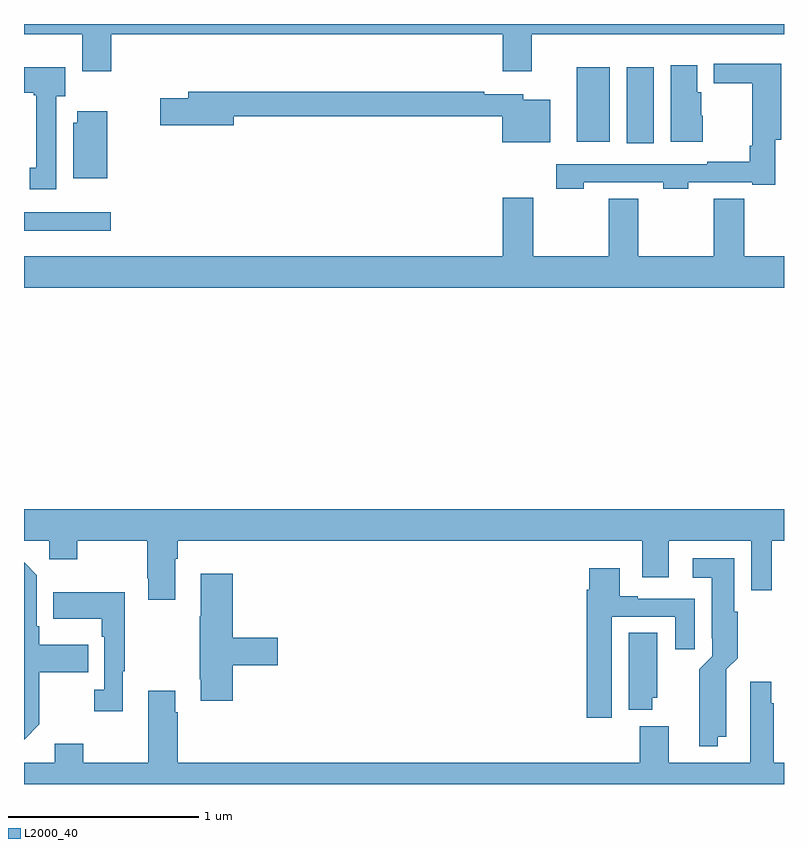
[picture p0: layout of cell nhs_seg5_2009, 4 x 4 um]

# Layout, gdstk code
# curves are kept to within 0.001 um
import gdstk
lib = gdstk.Library(unit=1e-6, precision=1e-09)
def R(c, l, rs):  # rectangles x0, y0, x1, y1
    for r in rs: c.add(gdstk.rectangle(r[:2], r[2:], *l))
def P(c, l, *ps):  # polygons
    for p in ps: c.add(gdstk.Polygon(p, *l))
L2000_40 = (2000, 40)

nhs_seg5_2009 = lib.new_cell('nhs_seg5_2009')
R(nhs_seg5_2009, L2000_40, [(229,871.712,229.456,871.809), (232.172,872.172,232.315,872.572), (231.908,872.18,232.084,872.572)])
P(nhs_seg5_2009, L2000_40, [(229.46,872.744),(231.521,872.744),(231.521,872.55),(231.673,872.55),(231.673,872.744),(233,872.744),(233,872.799),(229,872.799),(229,872.744),(229.307,872.744),(229.307,872.55),(229.46,872.55)],
  [(231.945,871.965),(232.365,871.965),(232.365,871.933),(232.497,871.933),(232.497,871.965),(232.832,871.965),(232.832,871.953),(232.955,871.953),(232.955,872.189),(232.985,872.189),(232.985,872.59),(232.629,872.59),(232.629,872.488),(232.834,872.488),(232.834,872.158),(232.819,872.158),(232.819,872.074),(232.597,872.074),(232.597,872.061),(231.801,872.061),(231.801,871.933),(231.945,871.933)],
  [(232.573,872.316),(232.564,872.316),(232.564,872.439),(232.543,872.439),(232.543,872.581),(232.403,872.581),(232.403,872.18),(232.573,872.18)],
  [(229.171,872.418),(229.216,872.418),(229.216,872.572),(229,872.572),(229,872.438),(229.051,872.438),(229.051,872.425),(229.064,872.425),(229.064,872.042),(229.031,872.042),(229.031,871.929),(229.171,871.929)],
  [(231.769,872.401),(231.628,872.401),(231.628,872.43),(231.422,872.43),(231.422,872.443),(229.865,872.443),(229.865,872.409),(229.716,872.409),(229.716,872.267),(230.104,872.267),(230.104,872.314),(231.518,872.314),(231.518,872.177),(231.769,872.177)],
  [(229.438,872.341),(229.28,872.341),(229.28,872.28),(229.259,872.28),(229.259,871.988),(229.438,871.988)],
  [(233,871.576),(232.79,871.576),(232.79,871.88),(232.63,871.88),(232.63,871.576),(232.232,871.576),(232.232,871.88),(232.078,871.88),(232.078,871.576),(231.681,871.576),(231.681,871.885),(231.521,871.885),(231.521,871.576),(229,871.576),(229,871.412),(233,871.412)],
  [(229.795,869.984),(229.808,869.984),(229.808,870.08),(232.253,870.08),(232.253,869.886),(232.393,869.886),(232.393,870.08),(232.827,870.08),(232.827,869.82),(232.936,869.82),(232.936,870.08),(233,870.08),(233,870.244),(229,870.244),(229,870.08),(229.134,870.08),(229.134,869.981),(229.281,869.981),(229.281,870.08),(229.648,870.08),(229.648,869.881),(229.655,869.881),(229.655,869.769),(229.795,869.769)],
  [(232.651,869.048),(232.696,869.048),(232.697,869.402),(232.756,869.461),(232.756,869.706),(232.738,869.706),(232.738,869.986),(232.521,869.986),(232.521,869.885),(232.619,869.885),(232.619,869.566),(232.623,869.566),(232.623,869.472),(232.553,869.402),(232.554,868.997),(232.651,868.997)],
  [(229.081,869.113),(229.081,869.386),(229.337,869.386),(229.337,869.533),(229.081,869.533),(229.081,869.629),(229.068,869.629),(229.068,869.898),(229,869.966),(229,869.032)],
  [(232.093,869.679),(232.427,869.679),(232.427,869.508),(232.531,869.508),(232.531,869.775),(232.231,869.775),(232.231,869.788),(232.135,869.788),(232.135,869.935),(231.974,869.935),(231.974,869.822),(231.962,869.822),(231.962,869.148),(232.093,869.148)],
  [(230.099,869.423),(230.335,869.423),(230.335,869.57),(230.099,869.57),(230.099,869.905),(229.931,869.905),(229.931,869.681),(229.924,869.681),(229.924,869.35),(229.931,869.35),(229.931,869.238),(230.099,869.238)],
  [(229.519,869.393),(229.531,869.393),(229.531,869.809),(229.153,869.809),(229.153,869.669),(229.41,869.669),(229.41,869.573),(229.422,869.573),(229.422,869.294),(229.371,869.294),(229.371,869.181),(229.519,869.181)],
  [(232.306,869.253),(232.333,869.253),(232.333,869.594),(232.184,869.594),(232.184,869.189),(232.306,869.189)],
  [(233,868.912),(232.946,868.912),(232.946,869.225),(232.933,869.225),(232.933,869.338),(232.823,869.338),(232.823,868.912),(232.393,868.912),(232.393,869.104),(232.241,869.104),(232.241,868.912),(229.808,868.912),(229.808,869.177),(229.795,869.177),(229.795,869.29),(229.655,869.29),(229.655,868.912),(229.311,868.912),(229.311,869.011),(229.163,869.011),(229.163,868.912),(229,868.912),(229,868.799),(233,868.799)])

lib.write_gds('nhs_seg5_2009.gds')
